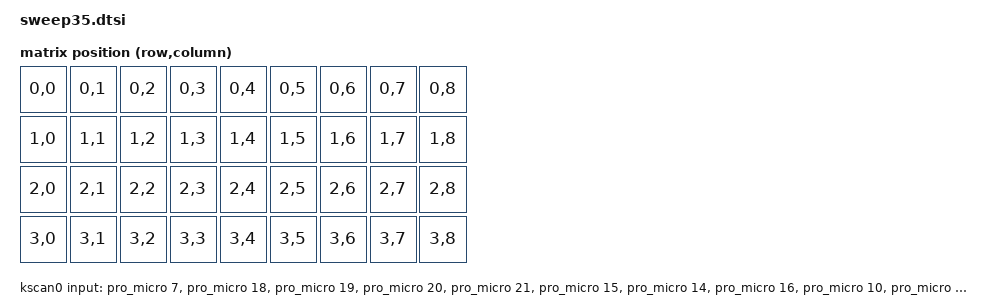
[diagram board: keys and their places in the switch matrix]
/*
 * Updated for unflattened 4x9 matrix layout
 * Original Sweep + extra left thumb key
 */

#include "dt-bindings/zmk/matrix_transform.h"
#include "sweep35-layouts.dtsi"

physical_layout0 {
    transform = <&default_transform>;
    kscan = <&kscan0>;
};

&kscan0 {
    compatible = "zmk,kscan-gpio-direct";
    input-gpios =
        <&pro_micro 7  (GPIO_ACTIVE_LOW | GPIO_PULL_UP)>,  // 0
        <&pro_micro 18 (GPIO_ACTIVE_LOW | GPIO_PULL_UP)>,  // 1
        <&pro_micro 19 (GPIO_ACTIVE_LOW | GPIO_PULL_UP)>,  // 2
        <&pro_micro 20 (GPIO_ACTIVE_LOW | GPIO_PULL_UP)>,  // 3
        <&pro_micro 21 (GPIO_ACTIVE_LOW | GPIO_PULL_UP)>,  // 4
        <&pro_micro 15 (GPIO_ACTIVE_LOW | GPIO_PULL_UP)>,  // 5
        <&pro_micro 14 (GPIO_ACTIVE_LOW | GPIO_PULL_UP)>,  // 6
        <&pro_micro 16 (GPIO_ACTIVE_LOW | GPIO_PULL_UP)>,  // 7
        <&pro_micro 10 (GPIO_ACTIVE_LOW | GPIO_PULL_UP)>,  // 8
        <&pro_micro 1  (GPIO_ACTIVE_LOW | GPIO_PULL_UP)>,  // 9
        <&pro_micro 2  (GPIO_ACTIVE_LOW | GPIO_PULL_UP)>,  // 10
        <&pro_micro 3  (GPIO_ACTIVE_LOW | GPIO_PULL_UP)>,  // 11
        <&pro_micro 4  (GPIO_ACTIVE_LOW | GPIO_PULL_UP)>,  // 12
        <&pro_micro 5  (GPIO_ACTIVE_LOW | GPIO_PULL_UP)>,  // 13
        <&pro_micro 6  (GPIO_ACTIVE_LOW | GPIO_PULL_UP)>,  // 14
        <&pro_micro 0  (GPIO_ACTIVE_LOW | GPIO_PULL_UP)>,  // 15
        <&pro_micro 8  (GPIO_ACTIVE_LOW | GPIO_PULL_UP)>,  // 16
        <&pro_micro 9  (GPIO_ACTIVE_LOW | GPIO_PULL_UP)>;  // 17
};

&{/} {
    chosen {
        zmk,kscan = &kscan0;
        zmk,matrix-transform = &default_transform;
    };

    default_transform: keymap_transform_0 {
        compatible = "zmk,matrix-transform";
        rows = <4>;
        columns = <9>;
        map = <
            // Row 0
            RC(0,0) RC(0,1) RC(0,2) RC(0,3) RC(0,4) RC(0,5) RC(0,6) RC(0,7) RC(0,8)
            // Row 1
            RC(1,0) RC(1,1) RC(1,2) RC(1,3) RC(1,4) RC(1,5) RC(1,6) RC(1,7) RC(1,8)
            // Row 2
            RC(2,0) RC(2,1) RC(2,2) RC(2,3) RC(2,4) RC(2,5) RC(2,6) RC(2,7) RC(2,8)
            // Row 3
            RC(3,0) RC(3,1) RC(3,2) RC(3,3) RC(3,4) RC(3,5) RC(3,6) RC(3,7) RC(3,8)
        >;
    };
};
